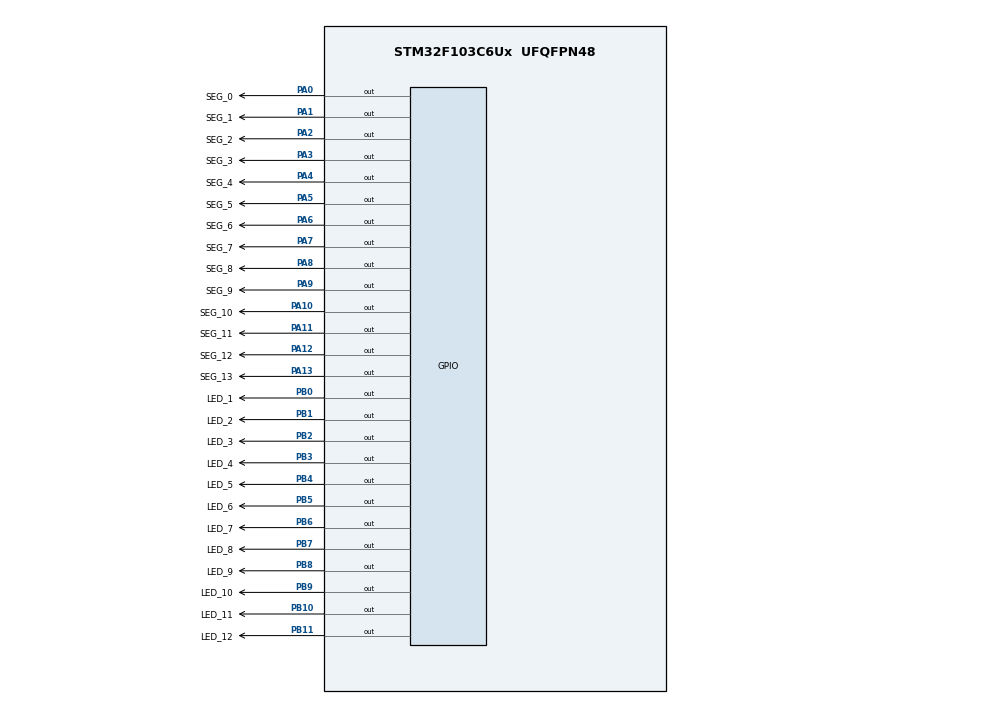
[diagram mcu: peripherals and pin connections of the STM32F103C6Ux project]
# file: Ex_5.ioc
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Mcu.Family=STM32F1
Mcu.Name=STM32F103C6Ux
Mcu.Package=UFQFPN48
NVIC.PriorityGroup=NVIC_PRIORITYGROUP_4
PA0-WKUP.GPIO_Label=SEG_0
PA0-WKUP.Signal=GPIO_Output
PA1.GPIO_Label=SEG_1
PA1.Signal=GPIO_Output
PA10.GPIO_Label=SEG_10
PA10.Signal=GPIO_Output
PA11.GPIO_Label=SEG_11
PA11.Signal=GPIO_Output
PA12.GPIO_Label=SEG_12
PA12.Signal=GPIO_Output
PA13.GPIO_Label=SEG_13
PA13.Signal=GPIO_Output
PA2.GPIO_Label=SEG_2
PA2.Signal=GPIO_Output
PA3.GPIO_Label=SEG_3
PA3.Signal=GPIO_Output
PA4.GPIO_Label=SEG_4
PA4.Signal=GPIO_Output
PA5.GPIO_Label=SEG_5
PA5.Signal=GPIO_Output
PA6.GPIO_Label=SEG_6
PA6.Signal=GPIO_Output
PA7.GPIO_Label=SEG_7
PA7.Signal=GPIO_Output
PA8.GPIO_Label=SEG_8
PA8.Signal=GPIO_Output
PA9.GPIO_Label=SEG_9
PA9.Signal=GPIO_Output
PB0.GPIO_Label=LED_1
PB0.Signal=GPIO_Output
PB1.GPIO_Label=LED_2
PB1.Signal=GPIO_Output
PB10.GPIO_Label=LED_11
PB10.Signal=GPIO_Output
PB11.GPIO_Label=LED_12
PB11.Signal=GPIO_Output
PB2.GPIO_Label=LED_3
PB2.Signal=GPIO_Output
PB3.GPIO_Label=LED_4
PB3.Signal=GPIO_Output
PB4.GPIO_Label=LED_5
PB4.Signal=GPIO_Output
PB5.GPIO_Label=LED_6
PB5.Signal=GPIO_Output
PB6.GPIO_Label=LED_7
PB6.Signal=GPIO_Output
PB7.GPIO_Label=LED_8
PB7.Signal=GPIO_Output
PB8.GPIO_Label=LED_9
PB8.Signal=GPIO_Output
PB9.GPIO_Label=LED_10
PB9.Signal=GPIO_Output
ProjectManager.HeapSize=0x200
ProjectManager.StackSize=0x400
ProjectManager.TargetToolchain=STM32CubeIDE
RCC.APB1Freq_Value=8000000
RCC.APB2Freq_Value=8000000
VP_SYS_VS_ND.Mode=No_Debug
board=custom

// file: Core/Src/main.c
/* USER CODE BEGIN Header */
/**
  ******************************************************************************
  * @file           : main.c
  * @brief          : Main program body
  ******************************************************************************
  * @attention
  *
  * <h2><center>&copy; Copyright (c) 2025 STMicroelectronics.
  * All rights reserved.</center></h2>
  *
  * This software component is licensed by ST under BSD 3-Clause license,
  * the "License"; You may not use this file except in compliance with the
  * License. You may obtain a copy of the License at:
  *                        opensource.org/licenses/BSD-3-Clause
  *
  ******************************************************************************
  */
/* USER CODE END Header */
#include "main.h"

void SystemClock_Config(void);
void set_LEDS(const GPIO_PinState *state);
void set_7SEG_X(const GPIO_PinState *L_LEDS_X_state);
void set_7SEG_Y(const GPIO_PinState *L_LEDS_Y_state);
static void MX_GPIO_Init(void);

/* USER CODE BEGIN 0 */
GPIO_TypeDef *LED_PORTS[12] = {
		LED_1_GPIO_Port, LED_2_GPIO_Port, LED_3_GPIO_Port,
		LED_4_GPIO_Port, LED_5_GPIO_Port, LED_6_GPIO_Port,
		LED_7_GPIO_Port, LED_8_GPIO_Port, LED_9_GPIO_Port,
		LED_10_GPIO_Port, LED_11_GPIO_Port, LED_12_GPIO_Port
};

uint16_t LED_PINS[12] = {
		LED_1_Pin, LED_2_Pin, LED_3_Pin,
		LED_4_Pin, LED_5_Pin, LED_6_Pin,
		LED_7_Pin, LED_8_Pin, LED_9_Pin,
		LED_10_Pin, LED_11_Pin, LED_12_Pin
};

GPIO_PinState LEDS_state[4][12] = {
		{ 1, 1, 0, 0, 0, 0, 1, 1, 0, 0, 0, 0 },
		{ 1, 0, 1, 0, 0, 0, 1, 0, 1, 0, 0, 0 },
		{ 0, 0, 0, 1, 1, 0, 0, 0, 0, 1, 1, 0 },
		{ 0, 0, 0, 1, 0, 1, 0, 0, 0, 1, 0, 1 }
};

GPIO_TypeDef *SEG_PORTS[14] = {
		SEG_0_GPIO_Port, SEG_1_GPIO_Port, SEG_2_GPIO_Port,
		SEG_3_GPIO_Port, SEG_4_GPIO_Port, SEG_5_GPIO_Port,
		SEG_6_GPIO_Port, SEG_7_GPIO_Port, SEG_8_GPIO_Port,
		SEG_9_GPIO_Port, SEG_10_GPIO_Port, SEG_11_GPIO_Port,
		SEG_12_GPIO_Port, SEG_13_GPIO_Port
};

uint16_t SEG_PINS[14] = {
		SEG_0_Pin, SEG_1_Pin, SEG_2_Pin,
		SEG_3_Pin, SEG_4_Pin, SEG_5_Pin,
		SEG_6_Pin, SEG_7_Pin, SEG_8_Pin,
		SEG_9_Pin, SEG_10_Pin, SEG_11_Pin,
		SEG_12_Pin, SEG_13_Pin
};

GPIO_PinState LEDS_7SEG_state[6][7] = {
		{ 0, 0, 0, 0, 0, 0, 1 },
		{ 1, 0, 0, 1, 1, 1, 1 },
		{ 0, 0, 1, 0, 0, 1, 0 },
		{ 0, 0, 0, 0, 1, 1, 0 },
		{ 1, 0, 0, 1, 1, 0, 0 },
		{ 0, 1, 0, 0, 1, 0, 0 }
};

/* USER CODE END 0 */

int main(void)
{
  /* USER CODE BEGIN 1 */
	 int cnt = 10;
  /* USER CODE END 1 */

  /* MCU Configuration--------------------------------------------------------*/

  /* Reset of all peripherals, Initializes the Flash interface and the Systick. */
  HAL_Init();

  /* Configure the system clock */
  SystemClock_Config();

  /* Initialize all configured peripherals */
  MX_GPIO_Init();

  /* Infinite loop */
  while (1)
  {

    /* USER CODE BEGIN 3 */
	  switch (cnt) {
	  case 10:
		  set_LEDS(LEDS_state[0]);
		  set_7SEG_Y(LEDS_7SEG_state[3]);
		  set_7SEG_X(LEDS_7SEG_state[5]);
		  break;
	  case 9:
		  set_7SEG_Y(LEDS_7SEG_state[2]);
		  set_7SEG_X(LEDS_7SEG_state[4]);
		  break;
	  case 8:
		  set_7SEG_Y(LEDS_7SEG_state[1]);
		  set_7SEG_X(LEDS_7SEG_state[3]);
		  break;
	  case 7:
		  set_LEDS(LEDS_state[1]);
		  set_7SEG_Y(LEDS_7SEG_state[2]);
		  set_7SEG_X(LEDS_7SEG_state[2]);
		  break;
	  case 6:
		  set_7SEG_Y(LEDS_7SEG_state[1]);
		  set_7SEG_X(LEDS_7SEG_state[1]);
		  break;
	  case 5:
		  set_LEDS(LEDS_state[2]);
		  set_7SEG_Y(LEDS_7SEG_state[5]);
		  set_7SEG_X(LEDS_7SEG_state[3]);
		  break;
	  case 4:
		  set_7SEG_Y(LEDS_7SEG_state[4]);
		  set_7SEG_X(LEDS_7SEG_state[2]);
		  break;
	  case 3:
		  set_7SEG_Y(LEDS_7SEG_state[3]);
		  set_7SEG_X(LEDS_7SEG_state[1]);
		  break;
	  case 2:
		  set_LEDS(LEDS_state[3]);
		  set_7SEG_Y(LEDS_7SEG_state[2]);
		  set_7SEG_X(LEDS_7SEG_state[2]);
		  break;
	  case 1:
		  set_7SEG_Y(LEDS_7SEG_state[1]);
		  set_7SEG_X(LEDS_7SEG_state[1]);
		  cnt = 11;
		  break;
	  default:
		  break;
	  }
	  cnt--;
	  HAL_Delay(1000);
  /* USER CODE END 3 */
  }
}

void SystemClock_Config(void)
{
  RCC_OscInitTypeDef RCC_OscInitStruct = {0};
  RCC_ClkInitTypeDef RCC_ClkInitStruct = {0};

  /** Initializes the RCC Oscillators according to the specified parameters
  * in the RCC_OscInitTypeDef structure.
  */
  RCC_OscInitStruct.OscillatorType = RCC_OSCILLATORTYPE_HSI;
  RCC_OscInitStruct.HSIState = RCC_HSI_ON;
  RCC_OscInitStruct.HSICalibrationValue = RCC_HSICALIBRATION_DEFAULT;
  RCC_OscInitStruct.PLL.PLLState = RCC_PLL_NONE;
  if (HAL_RCC_OscConfig(&RCC_OscInitStruct) != HAL_OK)
  {
    Error_Handler();
  }
  /** Initializes the CPU, AHB and APB buses clocks
  */
  RCC_ClkInitStruct.ClockType = RCC_CLOCKTYPE_HCLK|RCC_CLOCKTYPE_SYSCLK
                              |RCC_CLOCKTYPE_PCLK1|RCC_CLOCKTYPE_PCLK2;
  RCC_ClkInitStruct.SYSCLKSource = RCC_SYSCLKSOURCE_HSI;
  RCC_ClkInitStruct.AHBCLKDivider = RCC_SYSCLK_DIV1;
  RCC_ClkInitStruct.APB1CLKDivider = RCC_HCLK_DIV1;
  RCC_ClkInitStruct.APB2CLKDivider = RCC_HCLK_DIV1;

  if (HAL_RCC_ClockConfig(&RCC_ClkInitStruct, FLASH_LATENCY_0) != HAL_OK)
  {
    Error_Handler();
  }
}

static void MX_GPIO_Init(void)
{
  GPIO_InitTypeDef GPIO_InitStruct = {0};

  /* GPIO Ports Clock Enable */
  __HAL_RCC_GPIOA_CLK_ENABLE();
  __HAL_RCC_GPIOB_CLK_ENABLE();

  /*Configure GPIO pin Output Level */
  HAL_GPIO_WritePin(GPIOA, SEG_0_Pin|SEG_1_Pin|SEG_2_Pin|SEG_3_Pin
                          |SEG_4_Pin|SEG_5_Pin|SEG_6_Pin|SEG_7_Pin
                          |SEG_8_Pin|SEG_9_Pin|SEG_10_Pin|SEG_11_Pin
                          |SEG_12_Pin|SEG_13_Pin, GPIO_PIN_RESET);

  /*Configure GPIO pin Output Level */
  HAL_GPIO_WritePin(GPIOB, LED_1_Pin|LED_2_Pin|LED_3_Pin|LED_11_Pin
                          |LED_12_Pin|LED_4_Pin|LED_5_Pin|LED_6_Pin
                          |LED_7_Pin|LED_8_Pin|LED_9_Pin|LED_10_Pin, GPIO_PIN_RESET);

  /*Configure GPIO pins : SEG_0_Pin SEG_1_Pin SEG_2_Pin SEG_3_Pin
                           SEG_4_Pin SEG_5_Pin SEG_6_Pin SEG_7_Pin
                           SEG_8_Pin SEG_9_Pin SEG_10_Pin SEG_11_Pin
                           SEG_12_Pin SEG_13_Pin */
  GPIO_InitStruct.Pin = SEG_0_Pin|SEG_1_Pin|SEG_2_Pin|SEG_3_Pin
                          |SEG_4_Pin|SEG_5_Pin|SEG_6_Pin|SEG_7_Pin
                          |SEG_8_Pin|SEG_9_Pin|SEG_10_Pin|SEG_11_Pin
                          |SEG_12_Pin|SEG_13_Pin;
  GPIO_InitStruct.Mode = GPIO_MODE_OUTPUT_PP;
  GPIO_InitStruct.Pull = GPIO_NOPULL;
  GPIO_InitStruct.Speed = GPIO_SPEED_FREQ_LOW;
  HAL_GPIO_Init(GPIOA, &GPIO_InitStruct);

  /*Configure GPIO pins : LED_1_Pin LED_2_Pin LED_3_Pin LED_11_Pin
                           LED_12_Pin LED_4_Pin LED_5_Pin LED_6_Pin
                           LED_7_Pin LED_8_Pin LED_9_Pin LED_10_Pin */
  GPIO_InitStruct.Pin = LED_1_Pin|LED_2_Pin|LED_3_Pin|LED_11_Pin
                          |LED_12_Pin|LED_4_Pin|LED_5_Pin|LED_6_Pin
                          |LED_7_Pin|LED_8_Pin|LED_9_Pin|LED_10_Pin;
  GPIO_InitStruct.Mode = GPIO_MODE_OUTPUT_PP;
  GPIO_InitStruct.Pull = GPIO_NOPULL;
  GPIO_InitStruct.Speed = GPIO_SPEED_FREQ_LOW;
  HAL_GPIO_Init(GPIOB, &GPIO_InitStruct);

}

/* USER CODE BEGIN 4 */
void set_LEDS(const GPIO_PinState *state){
	for (int i = 0; i < 12; i++){
		HAL_GPIO_WritePin(LED_PORTS[i], LED_PINS[i], state[i]);
	}
 }

void set_7SEG_X(const GPIO_PinState *L_LEDS_X_state){
	for (int i = 0; i < 7; i++){
		HAL_GPIO_WritePin(SEG_PORTS[i], SEG_PINS[i], L_LEDS_X_state[i]);
	}
}

void set_7SEG_Y(const GPIO_PinState *L_LEDS_Y_state){
	for (int i = 0; i < 7; i++){
		HAL_GPIO_WritePin(SEG_PORTS[i + 7], SEG_PINS[i + 7],
				L_LEDS_Y_state[i]);
	}
}
/* USER CODE END 4 */

void Error_Handler(void)
{
  __disable_irq();
  while (1)
  {
  }
}

/************************ (C) COPYRIGHT STMicroelectronics *****END OF FILE****/
